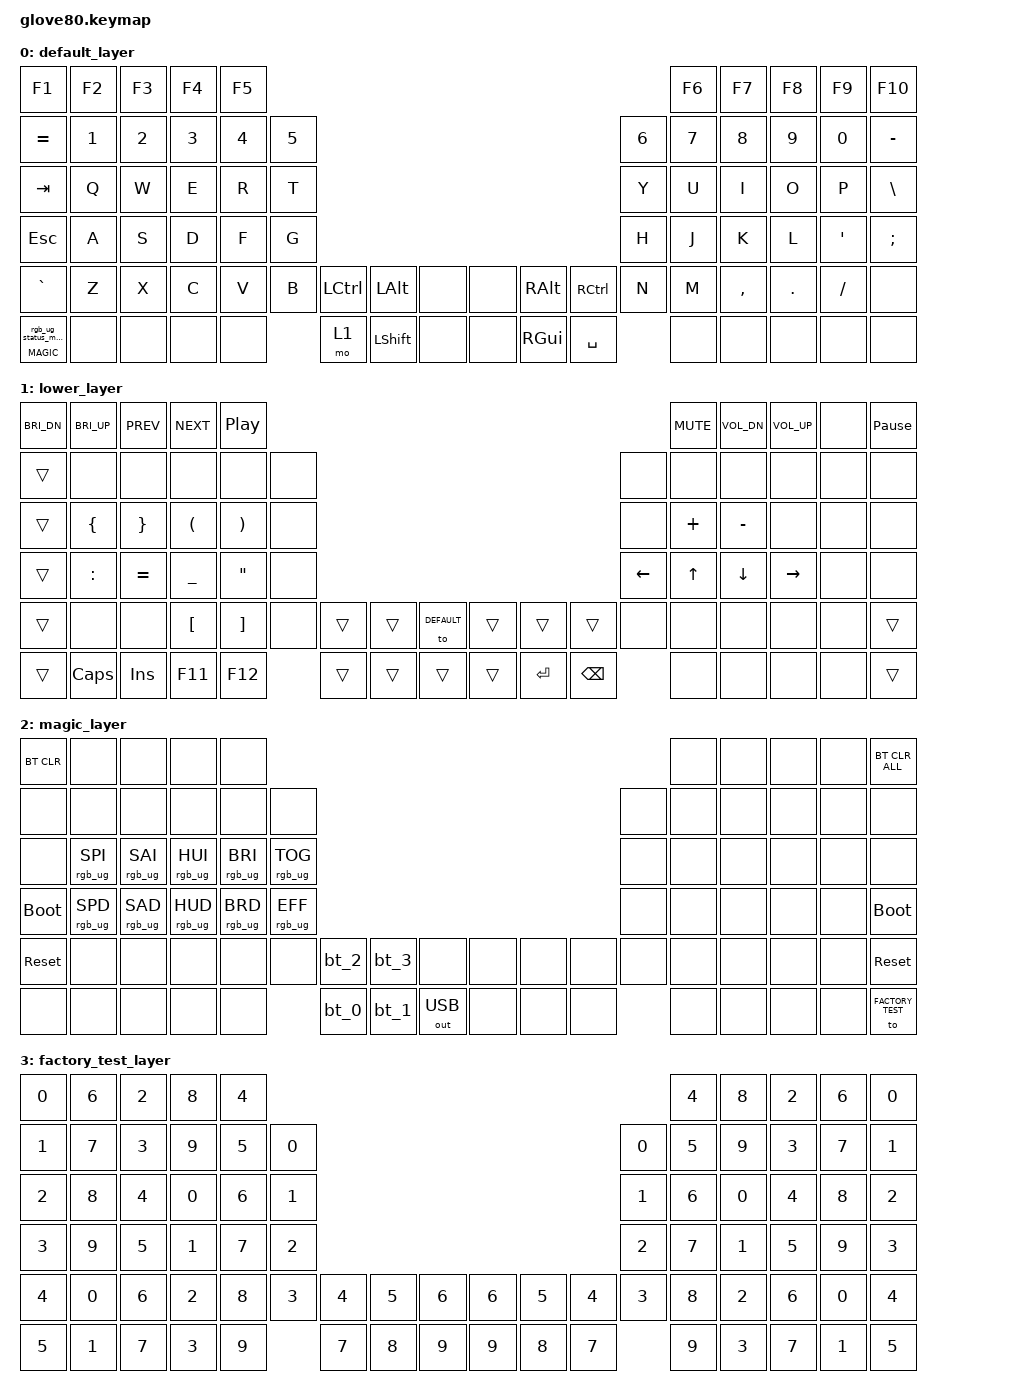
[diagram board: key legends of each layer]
/*
 * Copyright (c) 2020 The ZMK Contributors
 *
 * SPDX-License-Identifier: MIT
 */

#include <behaviors.dtsi>
#include <dt-bindings/zmk/bt.h>
#include <dt-bindings/zmk/keys.h>
#include <dt-bindings/zmk/outputs.h>
#include <dt-bindings/zmk/rgb.h>

#define HYPER LC(LS(LG(LALT)))

// layers

#define DEFAULT 0
#define LOWER 1
#define MAGIC 2
#define FACTORY_TEST 3

/ {
    behaviors {
        // For the "layer" key, it'd nice to be able to use it as either a shift or a toggle.
        // Configure it as a tap dance, so the first tap (or hold) is a &mo and the second tap is a &to

        layer_td: tap_dance_0 {
            compatible = "zmk,behavior-tap-dance";
            label = "LAYER_TAP_DANCE";
            #binding-cells = <0>;
            tapping-term-ms = <200>;
            bindings = <&mo LOWER>, <&to LOWER>;
        };

        magic: magic_hold_tap {
            compatible = "zmk,behavior-hold-tap";
            label = "MAGIC_HOLD_TAP";
            #binding-cells = <2>;
            flavor = "tap-preferred";
            tapping-term-ms = <200>;
            bindings = <&mo>, <&rgb_ug_status_macro>;
        };
    };

    macros {
        rgb_ug_status_macro: rgb_ug_status_macro_0 {
            label = "RGB_UG_STATUS";
            compatible = "zmk,behavior-macro";
            #binding-cells = <0>;
            bindings = <&rgb_ug RGB_STATUS>;
        };

        bt_0: bt_profile_macro_0 {
            label = "BT_0";
            compatible = "zmk,behavior-macro";
            #binding-cells = <0>;
            bindings = <&out OUT_BLE &bt BT_SEL 0>;
        };

        bt_1: bt_profile_macro_1 {
            label = "BT_1";
            compatible = "zmk,behavior-macro";
            #binding-cells = <0>;
            bindings = <&out OUT_BLE &bt BT_SEL 1>;
        };

        bt_2: bt_profile_macro_2 {
            label = "BT_2";
            compatible = "zmk,behavior-macro";
            #binding-cells = <0>;
            bindings = <&out OUT_BLE &bt BT_SEL 2>;
        };

        bt_3: bt_profile_macro_3 {
            label = "BT_3";
            compatible = "zmk,behavior-macro";
            #binding-cells = <0>;
            bindings = <&out OUT_BLE &bt BT_SEL 3>;
        };
    };

    keymap {
        compatible = "zmk,keymap";

        default_layer {
            // ---------------------------------------------------------------------------------------------------------------------------------
            // |  F1   |  F2 |  F3 |  F4  |  F5  |                                                               |  F6   |  F7   |  F8  |   F9  |  F10 |
            // |  =    |  1  |  2  |  3   |  4   |  5   |                                                 |  6   |   7   |   8   |  9   |   0   |   -  |
            // |  TAB  |  Q  |  W  |  E   |  R   |  T   |                                                 |  Y   |   U   |   I   |  O   |   P   |   \  |
            // |  ESC  |  A  |  S  |  D   |  F   |  G   |                                                 |  H   |   J   |   K   |  L   |   ;   |   '  |
            // |   `   |  Z  |  X  |  C   |  V   |  B   | LSHFT | LCTRL | LOWER | | LGUI  | RCTRL | RSHFT |  N   |   M   |   ,   |  .   |   /   | PGUP |
            // | MAGIC | HOME| END | LEFT | RIGHT|      | BSPC  | DEL   | LALT  | | RALT  | RET   | SPACE |      |  UP   | DOWN  |  [   |   ]   | PGDN |

            bindings = <
&kp F1          &kp F2  &kp F3  &kp F4  &kp F5                                                                                       &kp F6  &kp F7     &kp F8   &kp F9          &kp F10
&kp EQUAL       &kp N1  &kp N2  &kp N3  &kp N4  &kp N5                                                                       &kp N6  &kp N7  &kp N8     &kp N9   &kp N0          &kp MINUS
&kp TAB         &kp Q   &kp W   &kp E   &kp R   &kp T                                                                        &kp Y   &kp U   &kp I      &kp O    &kp P           &kp BSLH
&kp ESC         &kp A   &kp S   &kp D   &kp F   &kp G                                                                        &kp H   &kp J   &kp K      &kp L    &kp APOSTROPHE  &kp SEMI
&kp GRAVE       &kp Z   &kp X   &kp C   &kp V   &kp B   &kp LEFT_CONTROL  &kp LALT        &none  &none  &kp RALT  &kp RCTRL  &kp N   &kp M   &kp COMMA  &kp DOT  &kp FSLH        &none
&magic MAGIC 0  &none   &none   &none   &none           &mo 1             &kp LEFT_SHIFT  &none  &none  &kp RGUI  &kp SPACE          &none   &none      &none    &none           &none
            >;
        };

        lower_layer {
            bindings = <
&kp C_BRI_DN  &kp C_BRI_UP  &kp C_PREV  &kp C_NEXT            &kp C_PP                                                                                               &kp C_MUTE  &kp C_VOL_DN  &kp C_VOL_UP  &none  &kp PAUSE_BREAK
&trans        &none         &none       &none                 &none                  &none                                                                 &none     &none       &none         &none         &none  &none
&trans        &kp LBRC      &kp RBRC    &kp LEFT_PARENTHESIS  &kp RIGHT_PARENTHESIS  &none                                                                 &none     &kp PLUS    &kp MINUS     &none         &none  &none
&trans        &kp COLON     &kp EQUAL   &kp UNDER             &kp DOUBLE_QUOTES      &none                                                                 &kp LEFT  &kp UP      &kp DOWN      &kp RIGHT     &none  &none
&trans        &none         &none       &kp LEFT_BRACKET      &kp RIGHT_BRACKET      &none  &trans  &trans  &to DEFAULT  &trans  &trans     &trans         &none     &none       &none         &none         &none  &trans
&trans        &kp CAPS      &kp INS     &kp F11               &kp F12                       &trans  &trans  &trans       &trans  &kp ENTER  &kp BACKSPACE            &none       &none         &none         &none  &trans
            >;
        };

        magic_layer {
            bindings = <
&bt BT_CLR   &none            &none            &none            &none                                                                                     &none  &none  &none  &none  &bt BT_CLR_ALL
&none        &none            &none            &none            &none            &none                                                             &none  &none  &none  &none  &none  &none
&none        &rgb_ug RGB_SPI  &rgb_ug RGB_SAI  &rgb_ug RGB_HUI  &rgb_ug RGB_BRI  &rgb_ug RGB_TOG                                                   &none  &none  &none  &none  &none  &none
&bootloader  &rgb_ug RGB_SPD  &rgb_ug RGB_SAD  &rgb_ug RGB_HUD  &rgb_ug RGB_BRD  &rgb_ug RGB_EFF                                                   &none  &none  &none  &none  &none  &bootloader
&sys_reset   &none            &none            &none            &none            &none            &bt_2  &bt_3  &none         &none  &none  &none  &none  &none  &none  &none  &none  &sys_reset
&none        &none            &none            &none            &none                             &bt_0  &bt_1  &out OUT_USB  &none  &none  &none         &none  &none  &none  &none  &to FACTORY_TEST
            >;
        };

        factory_test_layer {
            bindings = <
&kp N0  &kp N6  &kp N2  &kp N8  &kp N4                                                                  &kp N4  &kp N8  &kp N2  &kp N6  &kp N0
&kp N1  &kp N7  &kp N3  &kp N9  &kp N5  &kp N0                                                  &kp N0  &kp N5  &kp N9  &kp N3  &kp N7  &kp N1
&kp N2  &kp N8  &kp N4  &kp N0  &kp N6  &kp N1                                                  &kp N1  &kp N6  &kp N0  &kp N4  &kp N8  &kp N2
&kp N3  &kp N9  &kp N5  &kp N1  &kp N7  &kp N2                                                  &kp N2  &kp N7  &kp N1  &kp N5  &kp N9  &kp N3
&kp N4  &kp N0  &kp N6  &kp N2  &kp N8  &kp N3  &kp N4  &kp N5  &kp N6  &kp N6  &kp N5  &kp N4  &kp N3  &kp N8  &kp N2  &kp N6  &kp N0  &kp N4
&kp N5  &kp N1  &kp N7  &kp N3  &kp N9          &kp N7  &kp N8  &kp N9  &kp N9  &kp N8  &kp N7          &kp N9  &kp N3  &kp N7  &kp N1  &kp N5
            >;
        };
    };
};
